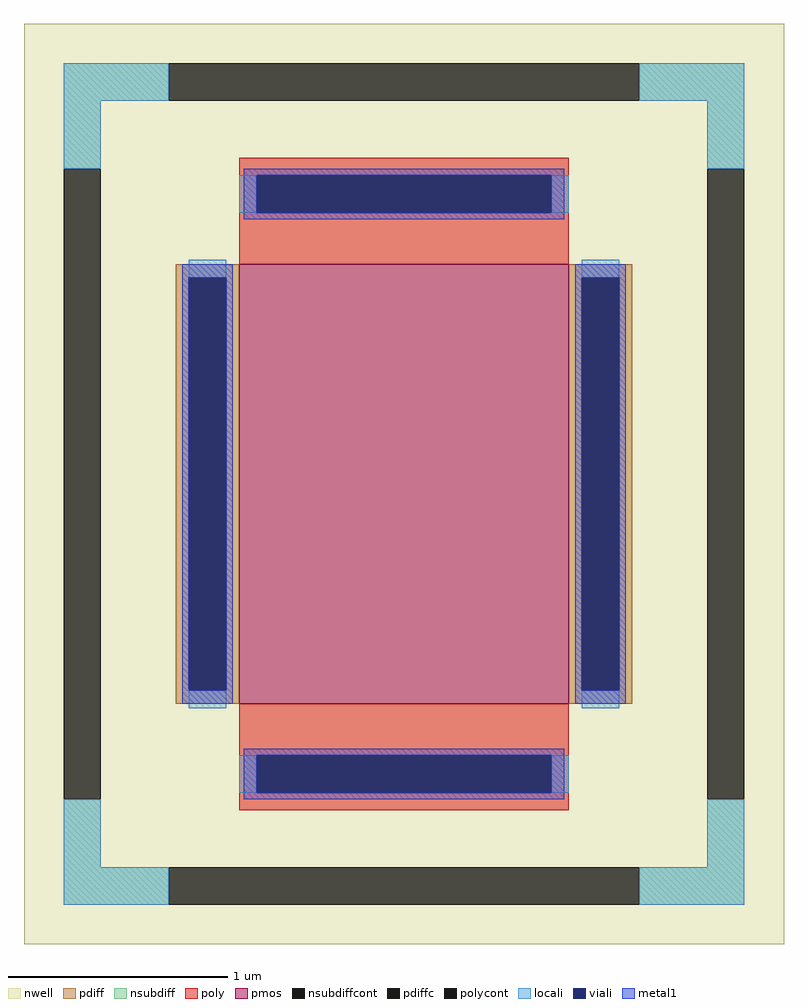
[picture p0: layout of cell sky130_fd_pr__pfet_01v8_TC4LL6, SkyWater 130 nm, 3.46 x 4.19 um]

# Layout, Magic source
magic
tech sky130A
magscale 1 2
<< nwell >>
rect -346 -419 346 419
<< pmos >>
rect -150 -200 150 200
<< pdiff >>
rect -208 188 -150 200
rect -208 -188 -196 188
rect -162 -188 -150 188
rect -208 -200 -150 -188
rect 150 188 208 200
rect 150 -188 162 188
rect 196 -188 208 188
rect 150 -200 208 -188
<< pdiffc >>
rect -196 -188 -162 188
rect 162 -188 196 188
<< nsubdiff >>
rect -310 349 -214 383
rect 214 349 310 383
rect -310 287 -276 349
rect 276 287 310 349
rect -310 -349 -276 -287
rect 276 -349 310 -287
rect -310 -383 -214 -349
rect 214 -383 310 -349
<< nsubdiffcont >>
rect -214 349 214 383
rect -310 -287 -276 287
rect 276 -287 310 287
rect -214 -383 214 -349
<< poly >>
rect -150 281 150 297
rect -150 247 -134 281
rect 134 247 150 281
rect -150 200 150 247
rect -150 -247 150 -200
rect -150 -281 -134 -247
rect 134 -281 150 -247
rect -150 -297 150 -281
<< polycont >>
rect -134 247 134 281
rect -134 -281 134 -247
<< locali >>
rect -310 349 -214 383
rect 214 349 310 383
rect -310 287 -276 349
rect 276 287 310 349
rect -150 247 -134 281
rect 134 247 150 281
rect -196 188 -162 204
rect -196 -204 -162 -188
rect 162 188 196 204
rect 162 -204 196 -188
rect -150 -281 -134 -247
rect 134 -281 150 -247
rect -310 -349 -276 -287
rect 276 -349 310 -287
rect -310 -383 -214 -349
rect 214 -383 310 -349
<< viali >>
rect -134 247 134 281
rect -196 -188 -162 188
rect 162 -188 196 188
rect -134 -281 134 -247
<< metal1 >>
rect -146 281 146 287
rect -146 247 -134 281
rect 134 247 146 281
rect -146 241 146 247
rect -202 188 -156 200
rect -202 -188 -196 188
rect -162 -188 -156 188
rect -202 -200 -156 -188
rect 156 188 202 200
rect 156 -188 162 188
rect 196 -188 202 188
rect 156 -200 202 -188
rect -146 -247 146 -241
rect -146 -281 -134 -247
rect 134 -281 146 -247
rect -146 -287 146 -281
<< properties >>
string FIXED_BBOX -293 -366 293 366
string gencell sky130_fd_pr__pfet_01v8
string library sky130
string parameters w 2.0 l 1.5 m 1 nf 1 diffcov 100 polycov 100 guard 1 glc 1 grc 1 gtc 1 gbc 1 tbcov 100 rlcov 100 topc 1 botc 1 poverlap 0 doverlap 1 lmin 0.15 wmin 0.42 class mosfet compatible {sky130_fd_pr__pfet_01v8  sky130_fd_pr__pfet_01v8_lvt sky130_fd_pr__pfet_01v8_hvt  sky130_fd_pr__pfet_g5v0d10v5} full_metal 1 viasrc 100 viadrn 100 viagate 100 viagb 0 viagr 0 viagl 0 viagt 0 ad {int((nf+1)/2) * W/nf * 0.29} as {int((nf+2)/2) * W/nf * 0.29} pd {2*int((nf+1)/2) * (W/nf + 0.29)} ps {2*int((nf+2)/2) * (W/nf + 0.29)} nrd {0.29 / W} nrs {0.29 / W} sa 0 sb 0 sd 0 mult 1
<< end >>
